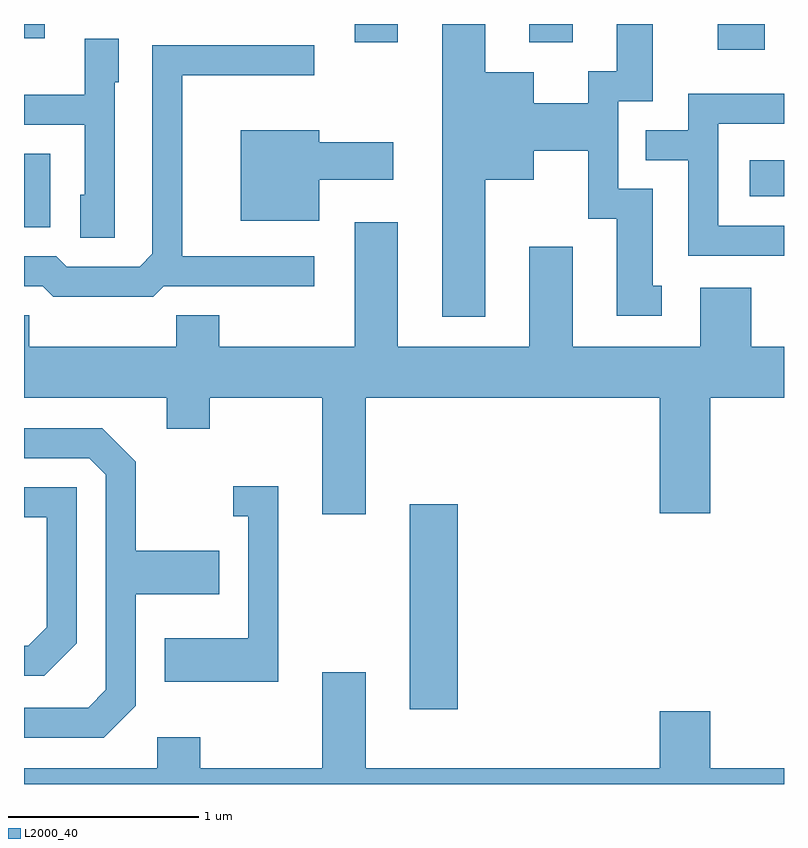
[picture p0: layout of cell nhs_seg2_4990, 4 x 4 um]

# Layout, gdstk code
import gdstk
lib = gdstk.Library(unit=1e-6, precision=1e-09)
def R(c, l, rs):  # rectangles x0, y0, x1, y1
    for r in rs: c.add(gdstk.rectangle(r[:2], r[2:], *l))
def P(c, l, *ps):  # polygons
    for p in ps: c.add(gdstk.Polygon(p, *l))
L2000_40 = (2000, 40)

nhs_seg2_4990 = lib.new_cell('nhs_seg2_4990')
R(nhs_seg2_4990, L2000_40, [(333.641,1082.196,333.894,1083.274), (331.611,1084.731,331.749,1085.119), (335.431,1084.896,335.611,1085.084), (335.261,1085.666,335.509,1085.802), (333.351,1085.706,333.579,1085.802), (334.271,1085.706,334.499,1085.802), (331.611,1085.726,331.719,1085.802)])
P(nhs_seg2_4990, L2000_40, [(334.039,1084.981),(334.294,1084.981),(334.294,1085.136),(334.581,1085.136),(334.581,1084.776),(334.731,1084.776),(334.731,1084.266),(334.968,1084.266),(334.968,1084.424),(334.919,1084.424),(334.919,1084.934),(334.739,1084.934),(334.739,1085.396),(334.919,1085.396),(334.919,1085.802),(334.731,1085.802),(334.731,1085.554),(334.581,1085.554),(334.581,1085.384),(334.294,1085.384),(334.294,1085.549),(334.039,1085.549),(334.039,1085.802),(333.811,1085.802),(333.811,1084.261),(334.039,1084.261)],
  [(332.089,1085.496),(332.109,1085.496),(332.109,1085.724),(331.931,1085.724),(331.931,1085.429),(331.611,1085.429),(331.611,1085.271),(331.931,1085.271),(331.931,1084.904),(331.906,1084.904),(331.906,1084.676),(332.089,1084.676)],
  [(332.347,1084.421),(333.138,1084.421),(333.138,1084.579),(332.444,1084.579),(332.444,1085.531),(333.138,1085.531),(333.138,1085.689),(332.286,1085.689),(332.286,1084.592),(332.219,1084.524),(331.837,1084.524),(331.782,1084.579),(331.611,1084.579),(331.611,1084.421),(331.709,1084.421),(331.764,1084.366),(332.292,1084.366)],
  [(335.611,1084.739),(335.264,1084.739),(335.264,1085.276),(335.611,1085.276),(335.611,1085.434),(335.106,1085.434),(335.106,1085.244),(334.883,1085.244),(334.883,1085.086),(335.106,1085.086),(335.106,1084.581),(335.611,1084.581)],
  [(333.164,1084.981),(333.554,1084.981),(333.554,1085.179),(333.164,1085.179),(333.164,1085.244),(332.751,1085.244),(332.751,1084.766),(333.164,1084.766)],
  [(333.409,1083.836),(334.956,1083.836),(334.956,1083.226),(335.224,1083.226),(335.224,1083.836),(335.611,1083.836),(335.611,1084.104),(335.439,1084.104),(335.439,1084.414),(335.171,1084.414),(335.171,1084.104),(334.499,1084.104),(334.499,1084.629),(334.271,1084.629),(334.271,1084.104),(333.579,1084.104),(333.579,1084.759),(333.351,1084.759),(333.351,1084.104),(332.639,1084.104),(332.639,1084.269),(332.411,1084.269),(332.411,1084.104),(331.639,1084.104),(331.639,1084.269),(331.611,1084.269),(331.611,1083.836),(332.361,1083.836),(332.361,1083.671),(332.589,1083.671),(332.589,1083.836),(333.181,1083.836),(333.181,1083.221),(333.409,1083.221)],
  [(332.199,1082.214),(332.199,1082.801),(332.639,1082.801),(332.639,1083.029),(332.199,1083.029),(332.199,1083.497),(332.022,1083.674),(331.611,1083.674),(331.611,1083.516),(331.954,1083.516),(332.041,1083.429),(332.041,1082.297),(331.949,1082.204),(331.611,1082.204),(331.611,1082.046),(332.032,1082.046)],
  [(332.949,1083.369),(332.713,1083.369),(332.713,1083.211),(332.791,1083.211),(332.791,1082.569),(332.351,1082.569),(332.351,1082.341),(332.949,1082.341)],
  [(331.889,1082.544),(331.889,1083.364),(331.611,1083.364),(331.611,1083.206),(331.731,1083.206),(331.731,1082.627),(331.634,1082.529),(331.611,1082.529),(331.611,1082.371),(331.717,1082.371)],
  [(335.611,1081.884),(335.224,1081.884),(335.224,1082.184),(334.956,1082.184),(334.956,1081.884),(333.409,1081.884),(333.409,1082.389),(333.181,1082.389),(333.181,1081.884),(332.539,1081.884),(332.539,1082.049),(332.311,1082.049),(332.311,1081.884),(331.611,1081.884),(331.611,1081.802),(335.611,1081.802)])

lib.write_gds('nhs_seg2_4990.gds')
